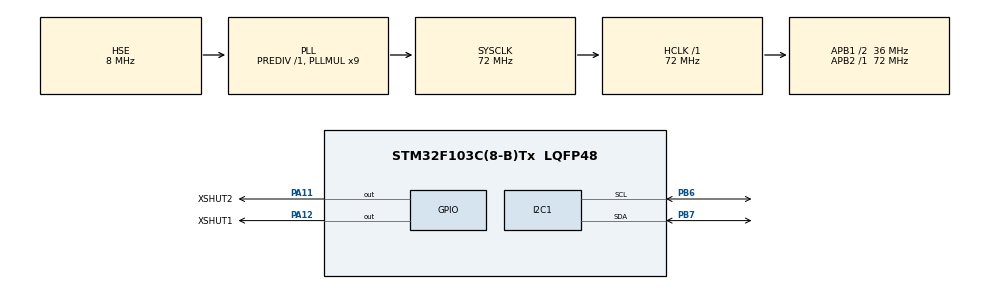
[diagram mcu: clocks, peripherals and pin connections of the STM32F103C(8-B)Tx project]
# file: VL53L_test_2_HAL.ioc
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I2C1.I2C_Mode=I2C_Fast
Mcu.Family=STM32F1
Mcu.Name=STM32F103C(8-B)Tx
Mcu.Package=LQFP48
NVIC.PriorityGroup=NVIC_PRIORITYGROUP_4
PA11.GPIO_Label=XSHUT2
PA11.Signal=GPIO_Output
PA12.GPIO_Label=XSHUT1
PA12.GPIO_PuPd=GPIO_PULLUP
PA12.Signal=GPIO_Output
PA13.Mode=Serial_Wire
PA13.Signal=SYS_JTMS-SWDIO
PA14.Mode=Serial_Wire
PA14.Signal=SYS_JTCK-SWCLK
PB6.Mode=I2C
PB6.Signal=I2C1_SCL
PB7.Mode=I2C
PB7.Signal=I2C1_SDA
PD0-OSC_IN.Mode=HSE-External-Oscillator
PD0-OSC_IN.Signal=RCC_OSC_IN
PD1-OSC_OUT.Mode=HSE-External-Oscillator
PD1-OSC_OUT.Signal=RCC_OSC_OUT
ProjectManager.HeapSize=0x200
ProjectManager.StackSize=0x400
ProjectManager.TargetToolchain=STM32CubeIDE
RCC.AHBFreq_Value=72000000
RCC.APB1CLKDivider=RCC_HCLK_DIV2
RCC.APB1Freq_Value=36000000
RCC.APB1TimFreq_Value=72000000
RCC.APB2Freq_Value=72000000
RCC.APB2TimFreq_Value=72000000
RCC.HCLKFreq_Value=72000000
RCC.PLLMUL=RCC_PLL_MUL9
RCC.PLLSourceVirtual=RCC_PLLSOURCE_HSE
RCC.SYSCLKFreq_VALUE=72000000
RCC.SYSCLKSource=RCC_SYSCLKSOURCE_PLLCLK
RCC.USBFreq_Value=72000000
board=custom

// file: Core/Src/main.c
/* USER CODE BEGIN Header */
/**
  ******************************************************************************
  * @file           : main.c
  * @brief          : Main program body
  ******************************************************************************
  * @attention
  *
  * Copyright (c) 2024 STMicroelectronics.
  * All rights reserved.
  *
  * This software is licensed under terms that can be found in the LICENSE file
  * in the root directory of this software component.
  * If no LICENSE file comes with this software, it is provided AS-IS.
  *
  ******************************************************************************
  */
/* USER CODE END Header */
#include "main.h"

/* USER CODE BEGIN Includes */
#include "VL53L0X.h"
#include "stdio.h"
/* USER CODE END Includes */

I2C_HandleTypeDef hi2c1;

/* USER CODE BEGIN PV */
statInfo_t_VL53L0X distanceStr1;
statInfo_t_VL53L0X distanceStr2;
uint16_t distance1;
uint16_t distance2;
uint32_t timer;
uint32_t last_timer = 0;
uint32_t diff_time;
uint8_t error;
VL53L0X dev1;
VL53L0X dev2;

uint8_t counter = 0;
/* USER CODE END PV */

void SystemClock_Config(void);
static void MX_GPIO_Init(void);
static void MX_I2C1_Init(void);

int main(void)
{

  /* MCU Configuration--------------------------------------------------------*/

  /* Reset of all peripherals, Initializes the Flash interface and the Systick. */
  HAL_Init();

  /* Configure the system clock */
  SystemClock_Config();

  /* Initialize all configured peripherals */
  MX_GPIO_Init();
  MX_I2C1_Init();
  /* USER CODE BEGIN 2 */

	dev1.g_i2cAddr = 0b01010010;
	dev1.g_ioTimeout = 0;
	dev1.g_isTimeout = 0;
	dev2.g_i2cAddr = 0b01010010;
	dev2.g_ioTimeout = 0;
	dev2.g_isTimeout = 0;
	uint8_t new_addr1 = 0x54;
	uint8_t new_addr2 = 0x56;

//  	HAL_GPIO_WritePin(XSHUT1_GPIO_Port, XSHUT1_Pin, GPIO_PIN_RESET);
//  	HAL_Delay(10);
//  	HAL_GPIO_WritePin(XSHUT1_GPIO_Port, XSHUT1_Pin, GPIO_PIN_SET);
//  	HAL_Delay(100);

	HAL_GPIO_WritePin(XSHUT1_GPIO_Port, XSHUT1_Pin, GPIO_PIN_RESET);
	HAL_GPIO_WritePin(XSHUT2_GPIO_Port, XSHUT2_Pin, GPIO_PIN_RESET);

	HAL_GPIO_WritePin(XSHUT1_GPIO_Port, XSHUT1_Pin, GPIO_PIN_SET);
	HAL_Delay(100);
	setAddress_VL53L0X(&dev1, new_addr1);
	HAL_Delay(100);

	HAL_GPIO_WritePin(XSHUT2_GPIO_Port, XSHUT2_Pin, GPIO_PIN_SET);
	HAL_Delay(100);
	setAddress_VL53L0X(&dev2, new_addr2);
	HAL_Delay(100);

	initVL53L0X(&dev1, 1, &hi2c1);
	setSignalRateLimit(&dev1, 200);
	setVcselPulsePeriod(&dev1, VcselPeriodPreRange, 12);
	setVcselPulsePeriod(&dev1, VcselPeriodFinalRange, 14);
//	setMeasurementTimingBudget(&dev1, 300 * 1000UL);
	setMeasurementTimingBudget(&dev1, (uint32_t)166000);

	HAL_Delay(100);

	initVL53L0X(&dev2, 1, &hi2c1);
	setSignalRateLimit(&dev2, 200);
	setVcselPulsePeriod(&dev2, VcselPeriodPreRange, 12);
	setVcselPulsePeriod(&dev2, VcselPeriodFinalRange, 14);
//	setMeasurementTimingBudget(&dev2, 300 * 1000UL);
	setMeasurementTimingBudget(&dev2, (uint32_t)166000);
//
	HAL_Delay(100);
	startContinuous(&dev1,0);
	HAL_Delay(100);
	startContinuous(&dev2,0);
	HAL_Delay(100);
  /* USER CODE END 2 */

  /* Infinite loop */
  /* USER CODE BEGIN WHILE */
  while (1)
  {
	  if (counter){
		  distance1 = readRangeContinuousMillimeters(&dev1, &distanceStr1);
	  } else {
		  distance2 = readRangeContinuousMillimeters(&dev2, &distanceStr2);
	  }
	  if (counter++ == 2) counter = 0;

	  timer = HAL_GetTick();
	  diff_time = timer - last_timer;
	  last_timer = timer;
	  HAL_Delay(10);

  //	  distance = readRangeSingleMillimeters(&dev1, &distanceStr);
  //	  error = checkRangeContinuousMillimeters(&dev1, &distanceStr, &distance);
  //	  HAL_Delay(10);
    /* USER CODE END WHILE */

  }
}

void SystemClock_Config(void)
{
  RCC_OscInitTypeDef RCC_OscInitStruct = {0};
  RCC_ClkInitTypeDef RCC_ClkInitStruct = {0};

  /** Initializes the RCC Oscillators according to the specified parameters
  * in the RCC_OscInitTypeDef structure.
  */
  RCC_OscInitStruct.OscillatorType = RCC_OSCILLATORTYPE_HSE;
  RCC_OscInitStruct.HSEState = RCC_HSE_ON;
  RCC_OscInitStruct.HSEPredivValue = RCC_HSE_PREDIV_DIV1;
  RCC_OscInitStruct.HSIState = RCC_HSI_ON;
  RCC_OscInitStruct.PLL.PLLState = RCC_PLL_ON;
  RCC_OscInitStruct.PLL.PLLSource = RCC_PLLSOURCE_HSE;
  RCC_OscInitStruct.PLL.PLLMUL = RCC_PLL_MUL9;
  if (HAL_RCC_OscConfig(&RCC_OscInitStruct) != HAL_OK)
  {
    Error_Handler();
  }

  /** Initializes the CPU, AHB and APB buses clocks
  */
  RCC_ClkInitStruct.ClockType = RCC_CLOCKTYPE_HCLK|RCC_CLOCKTYPE_SYSCLK
                              |RCC_CLOCKTYPE_PCLK1|RCC_CLOCKTYPE_PCLK2;
  RCC_ClkInitStruct.SYSCLKSource = RCC_SYSCLKSOURCE_PLLCLK;
  RCC_ClkInitStruct.AHBCLKDivider = RCC_SYSCLK_DIV1;
  RCC_ClkInitStruct.APB1CLKDivider = RCC_HCLK_DIV2;
  RCC_ClkInitStruct.APB2CLKDivider = RCC_HCLK_DIV1;

  if (HAL_RCC_ClockConfig(&RCC_ClkInitStruct, FLASH_LATENCY_2) != HAL_OK)
  {
    Error_Handler();
  }
}

static void MX_I2C1_Init(void)
{

  hi2c1.Instance = I2C1;
  hi2c1.Init.ClockSpeed = 400000;
  hi2c1.Init.DutyCycle = I2C_DUTYCYCLE_2;
  hi2c1.Init.OwnAddress1 = 0;
  hi2c1.Init.AddressingMode = I2C_ADDRESSINGMODE_7BIT;
  hi2c1.Init.DualAddressMode = I2C_DUALADDRESS_DISABLE;
  hi2c1.Init.OwnAddress2 = 0;
  hi2c1.Init.GeneralCallMode = I2C_GENERALCALL_DISABLE;
  hi2c1.Init.NoStretchMode = I2C_NOSTRETCH_DISABLE;
  if (HAL_I2C_Init(&hi2c1) != HAL_OK)
  {
    Error_Handler();
  }

}

static void MX_GPIO_Init(void)
{
  GPIO_InitTypeDef GPIO_InitStruct = {0};

  /* GPIO Ports Clock Enable */
  __HAL_RCC_GPIOD_CLK_ENABLE();
  __HAL_RCC_GPIOA_CLK_ENABLE();
  __HAL_RCC_GPIOB_CLK_ENABLE();

  /*Configure GPIO pin Output Level */
  HAL_GPIO_WritePin(GPIOA, XSHUT2_Pin|XSHUT1_Pin, GPIO_PIN_RESET);

  /*Configure GPIO pin : XSHUT2_Pin */
  GPIO_InitStruct.Pin = XSHUT2_Pin;
  GPIO_InitStruct.Mode = GPIO_MODE_OUTPUT_PP;
  GPIO_InitStruct.Pull = GPIO_NOPULL;
  GPIO_InitStruct.Speed = GPIO_SPEED_FREQ_LOW;
  HAL_GPIO_Init(XSHUT2_GPIO_Port, &GPIO_InitStruct);

  /*Configure GPIO pin : XSHUT1_Pin */
  GPIO_InitStruct.Pin = XSHUT1_Pin;
  GPIO_InitStruct.Mode = GPIO_MODE_OUTPUT_PP;
  GPIO_InitStruct.Pull = GPIO_PULLUP;
  GPIO_InitStruct.Speed = GPIO_SPEED_FREQ_LOW;
  HAL_GPIO_Init(XSHUT1_GPIO_Port, &GPIO_InitStruct);

}

void Error_Handler(void)
{
  __disable_irq();
  while (1)
  {
  }
}
